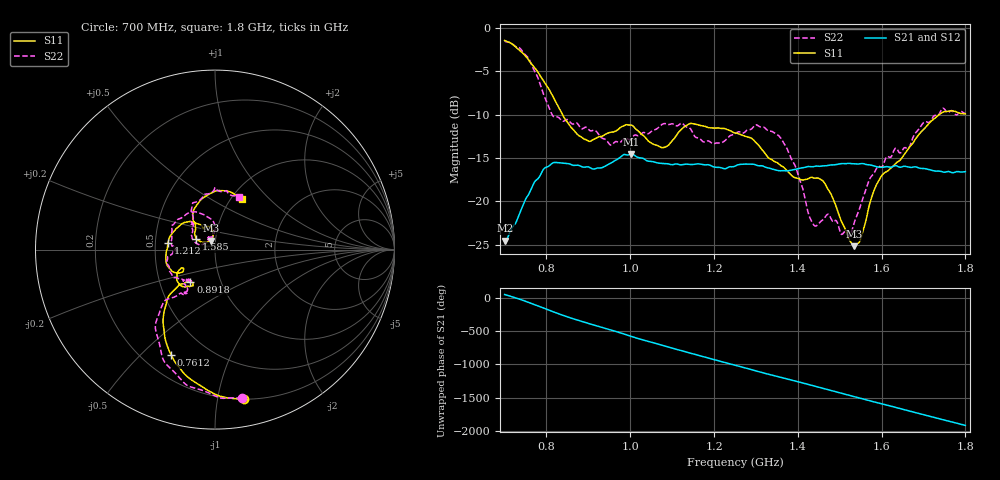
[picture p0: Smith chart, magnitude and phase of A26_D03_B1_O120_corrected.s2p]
! Created with skrf 1.9.0 (http://scikit-rf.org).
# Hz S RI R 50.0
!freq ReS11 ImS11 ReS21 ImS21 ReS12 ImS12 ReS22 ImS22
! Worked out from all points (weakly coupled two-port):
!   1601 points, 700 MHz to 1.8 GHz, reference 50 ohm
!   highest |S21| = -14.55 dB at 1.002 GHz (marker M1); lowest = -24.5 dB at 701.4 MHz (marker M2)
!   lowest |S11| = -25.2 dB at 1.534 GHz (marker M3), VSWR 1.12, Z = 47.5 + j4.75 ohm
!   |S11| at or under -10 dB: 838.3 MHz to 1.737 GHz (898.7 MHz wide, 69.8 % of centre)
!   |S22| runs from -24.0 to -1.5 dB; largest |S21 - S12| = 0.0035
!   S11 on the Smith chart (normalised r, x): 700 MHz: 0.20, -1.19; 761.2 MHz: 0.31, -0.62; 891.8 MHz: 0.71, -0.27; 1.212 GHz: 0.58, +0.05; 1.585 GHz: 0.80, +0.10; 1.8 GHz: 1.12, +0.70
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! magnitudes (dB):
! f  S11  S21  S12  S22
! 700 MHz  -1.4  -24.5  -24.3  -1.5
! 701.4 MHz  -1.4  -24.5  -24.2  -1.5
! 761.2 MHz  -3.9  -18.8  -18.7  -3.9
! 814.8 MHz  -7.9  -15.6  -15.6  -10.1
! 883.6 MHz  -12.6  -16.0  -15.9  -11.6
! 891.8 MHz  -12.9  -16.1  -16.1  -11.5
! 1.002 GHz  -11.2  -14.5  -14.7  -12.7
! 1.067 GHz  -13.6  -15.6  -15.5  -11.5
! 1.142 GHz  -11.0  -15.8  -15.7  -11.5
! 1.212 GHz  -11.5  -16.1  -16.1  -13.3
! 1.25 GHz  -12.1  -15.9  -15.9  -12.2
! 1.357 GHz  -15.8  -16.5  -16.4  -12.5
! 1.395 GHz  -17.3  -16.3  -16.3  -16.1
! 1.434 GHz  -17.2  -16.0  -16.0  -22.4
! 1.465 GHz  -18.0  -15.9  -15.9  -21.8
! 1.521 GHz  -24.3  -15.6  -15.6  -24.0
! 1.534 GHz  -25.2  -15.7  -15.7  -22.6
! 1.55 GHz  -24.3  -15.7  -15.7  -20.4
! 1.585 GHz  -18.3  -16.0  -16.0  -16.4
! 1.617 GHz  -16.4  -16.0  -16.0  -14.9
! 1.739 GHz  -9.9  -16.5  -16.6  -9.8
! 1.8 GHz  -9.9  -16.6  -16.6  -9.9
